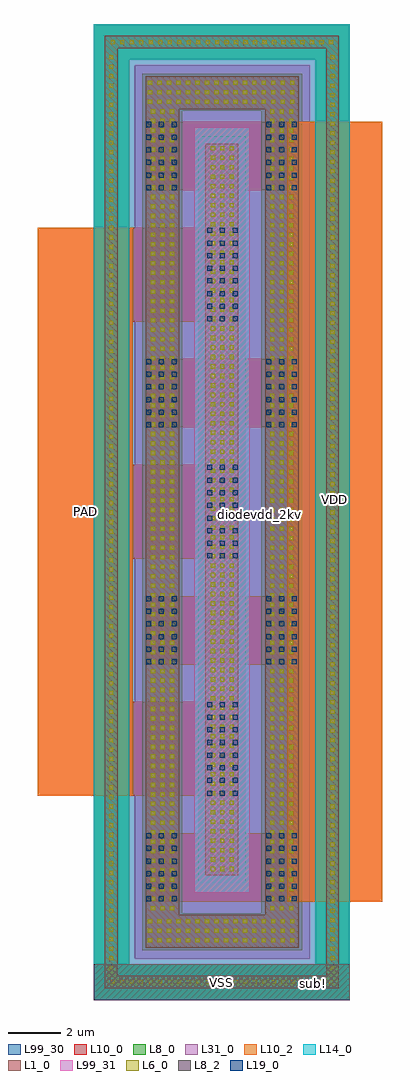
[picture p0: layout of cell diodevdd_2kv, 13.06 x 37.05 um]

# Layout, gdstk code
import gdstk
lib = gdstk.Library(unit=1e-6, precision=1e-09)
def R(c, l, rs):  # rectangles x0, y0, x1, y1
    for r in rs: c.add(gdstk.rectangle(r[:2], r[2:], *l))
def A(c, l, x, y, w, h, nx, ny, dx, dy):  # array of equal rectangles
    R(c, l, [(x+i*dx, y+j*dy, x+i*dx+w, y+j*dy+h) for i in range(nx) for j in range(ny)])
def P(c, l, *ps):  # polygons
    for p in ps: c.add(gdstk.Polygon(p, *l))
L1_0 = (1, 0)
L6_0 = (6, 0)
L8_0 = (8, 0)
L8_2 = (8, 2)
L10_0 = (10, 0)
L10_2 = (10, 2)
L14_0 = (14, 0)
L19_0 = (19, 0)
L31_0 = (31, 0)
L99_30 = (99, 30)
L99_31 = (99, 31)

diodevdd_2kv = lib.new_cell('diodevdd_2kv')
R(diodevdd_2kv, L1_0, [(-35.903,4.56,-34.643,32.34)])
P(diodevdd_2kv, L1_0, [(-38.153,1.81),(-38.153,3.07),(-33.623,3.07),(-33.623,33.64),(-36.893,33.64),(-36.893,3.07),(-38.153,3.07),(-38.153,34.9),(-32.363,34.9),(-32.363,1.81)],
  [(-39.713,0.28),(-39.713,0.76),(-31.313,0.76),(-31.313,35.95),(-39.233,35.95),(-39.233,0.76),(-39.713,0.76),(-39.713,36.43),(-30.833,36.43),(-30.833,0.28)])
A(diodevdd_2kv, L6_0, -39.493, 0.44, 0.16, 0.16, 24, 2, 0.36, 35.67)
A(diodevdd_2kv, L6_0, -39.553, 0.975, 0.16, 0.16, 1, 97, 0, 0.36)
A(diodevdd_2kv, L6_0, -31.153, 0.975, 0.16, 0.16, 1, 97, 0, 0.36)
A(diodevdd_2kv, L6_0, -38.078, 2.02, 0.16, 0.16, 16, 3, 0.36, 0.36)
A(diodevdd_2kv, L6_0, -37.968, 3.235, 0.16, 0.16, 3, 85, 0.36, 0.36)
A(diodevdd_2kv, L6_0, -33.438, 3.235, 0.16, 0.16, 3, 85, 0.36, 0.36)
A(diodevdd_2kv, L6_0, -35.693, 4.72, 0.16, 0.16, 3, 77, 0.36, 0.36)
A(diodevdd_2kv, L6_0, -38.078, 33.85, 0.16, 0.16, 16, 3, 0.36, 0.36)
R(diodevdd_2kv, L8_0, [(-36.173,4.26,-34.373,32.61)])
P(diodevdd_2kv, L8_0, [(-38.303,1.72),(-38.303,3.13),(-33.773,3.13),(-33.773,33.58),(-36.773,33.58),(-36.773,3.13),(-38.303,3.13),(-38.303,34.99),(-32.213,34.99),(-32.213,1.72)],
  [(-40.133,-0.17),(-40.133,1.18),(-31.733,1.18),(-31.733,35.53),(-38.783,35.53),(-38.783,1.18),(-40.133,1.18),(-40.133,36.88),(-30.413,36.88),(-30.413,-0.17)])
R(diodevdd_2kv, L8_2, [(-40.133,-0.17,-30.413,1.18)])
P(diodevdd_2kv, L10_0, [(-38.193,3.565),(-38.193,6.165),(-32.793,6.165),(-32.793,12.565),(-38.193,12.565),(-38.193,15.165),(-32.793,15.165),(-32.793,21.565),(-38.193,21.565),(-38.193,24.165),(-32.793,24.165),(-32.793,30.565),(-38.193,30.565),(-38.193,33.165),(-29.193,33.165),(-29.193,3.565)],
  [(-42.253,7.585),(-42.253,29.145),(-34.628,29.145),(-34.628,25.585),(-38.653,25.585),(-38.653,20.145),(-34.628,20.145),(-34.628,16.585),(-38.653,16.585),(-38.653,11.145),(-34.628,11.145),(-34.628,7.585)])
R(diodevdd_2kv, L10_2, [(-32.793,3.565,-29.193,33.165), (-42.253,7.585,-38.653,29.145)])
R(diodevdd_2kv, L14_0, [(-36.323,3.9,-34.223,32.97)])
P(diodevdd_2kv, L14_0, [(-40.133,-0.17),(-40.133,1.18),(-31.733,1.18),(-31.733,35.53),(-38.783,35.53),(-38.783,1.18),(-40.133,1.18),(-40.133,36.88),(-30.413,36.88),(-30.413,-0.17)])
A(diodevdd_2kv, L19_0, -38.143, 3.57, 0.19, 0.19, 3, 6, 0.48, 0.48)
A(diodevdd_2kv, L19_0, -33.583, 3.57, 0.19, 0.19, 3, 6, 0.48, 0.48)
A(diodevdd_2kv, L19_0, -35.828, 7.59, 0.19, 0.19, 3, 8, 0.48, 0.48)
A(diodevdd_2kv, L19_0, -38.143, 12.57, 0.19, 0.19, 3, 6, 0.48, 0.48)
A(diodevdd_2kv, L19_0, -33.583, 12.57, 0.19, 0.19, 3, 6, 0.48, 0.48)
A(diodevdd_2kv, L19_0, -35.828, 16.59, 0.19, 0.19, 3, 8, 0.48, 0.48)
A(diodevdd_2kv, L19_0, -38.143, 21.57, 0.19, 0.19, 3, 6, 0.48, 0.48)
A(diodevdd_2kv, L19_0, -33.583, 21.57, 0.19, 0.19, 3, 6, 0.48, 0.48)
A(diodevdd_2kv, L19_0, -35.828, 25.59, 0.19, 0.19, 3, 8, 0.48, 0.48)
A(diodevdd_2kv, L19_0, -38.143, 30.57, 0.19, 0.19, 3, 6, 0.48, 0.48)
A(diodevdd_2kv, L19_0, -33.583, 30.57, 0.19, 0.19, 3, 6, 0.48, 0.48)
R(diodevdd_2kv, L31_0, [(-38.573,1.39,-31.943,35.32)])
R(diodevdd_2kv, L99_30, [(-40.133,-0.17,-30.413,36.88)])
R(diodevdd_2kv, L99_31, [(-36.323,3.9,-34.223,32.97)])
diodevdd_2kv.add(gdstk.Label('VDD', (-30.983,18.82), layer=63, texttype=0))
diodevdd_2kv.add(gdstk.Label('PAD', (-40.453,18.365), layer=63, texttype=0))
diodevdd_2kv.add(gdstk.Label('VSS', (-35.273,0.505), layer=63, texttype=0))
diodevdd_2kv.add(gdstk.Label('sub!', (-31.803,0.455), layer=63, texttype=0))
diodevdd_2kv.add(gdstk.Label('diodevdd_2kv', (-33.833,18.26), layer=63, texttype=0))

lib.write_gds('diodevdd_2kv.gds')
